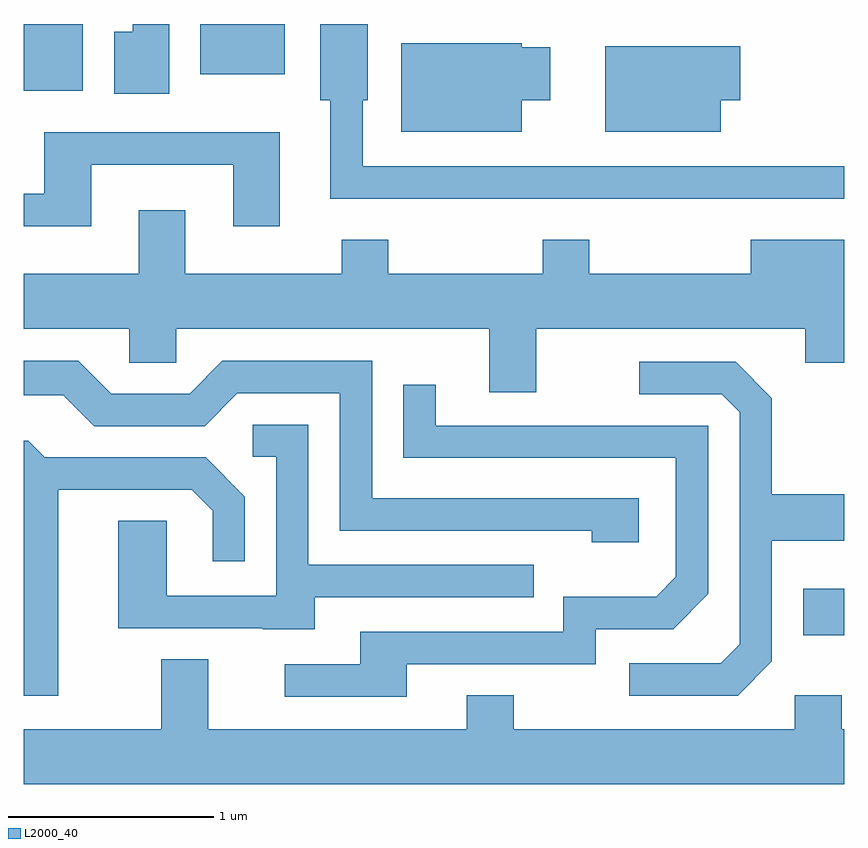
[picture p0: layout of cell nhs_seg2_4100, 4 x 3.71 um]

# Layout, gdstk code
import gdstk
lib = gdstk.Library(unit=1e-6, precision=1e-09)
def R(c, l, rs):  # rectangles x0, y0, x1, y1
    for r in rs: c.add(gdstk.rectangle(r[:2], r[2:], *l))
def P(c, l, *ps):  # polygons
    for p in ps: c.add(gdstk.Polygon(p, *l))
L2000_40 = (2000, 40)

nhs_seg2_4100 = lib.new_cell('nhs_seg2_4100')
R(nhs_seg2_4100, L2000_40, [(309.411,1046.821,309.611,1047.049), (305.611,1049.476,305.899,1049.802), (306.471,1049.556,306.884,1049.802)])
P(nhs_seg2_4100, L2000_40, [(306.319,1049.802),(306.141,1049.802),(306.141,1049.764),(306.051,1049.764),(306.051,1049.461),(306.319,1049.461)],
  [(309.611,1049.109),(307.264,1049.109),(307.264,1049.431),(307.289,1049.431),(307.289,1049.802),(307.056,1049.802),(307.056,1049.431),(307.106,1049.431),(307.106,1048.951),(309.611,1048.951)],
  [(308.039,1049.431),(308.179,1049.431),(308.179,1049.689),(308.039,1049.689),(308.039,1049.709),(307.451,1049.709),(307.451,1049.276),(308.039,1049.276)],
  [(309.009,1049.431),(309.104,1049.431),(309.104,1049.694),(308.446,1049.694),(308.446,1049.276),(309.009,1049.276)],
  [(305.939,1049.116),(306.631,1049.116),(306.631,1048.816),(306.859,1048.816),(306.859,1049.274),(305.711,1049.274),(305.711,1048.974),(305.611,1048.974),(305.611,1048.816),(305.939,1048.816)],
  [(308.109,1048.316),(309.421,1048.316),(309.421,1048.151),(309.611,1048.151),(309.611,1048.749),(309.156,1048.749),(309.156,1048.584),(308.369,1048.584),(308.369,1048.749),(308.141,1048.749),(308.141,1048.584),(307.389,1048.584),(307.389,1048.749),(307.161,1048.749),(307.161,1048.584),(306.399,1048.584),(306.399,1048.894),(306.171,1048.894),(306.171,1048.584),(305.611,1048.584),(305.611,1048.316),(306.126,1048.316),(306.126,1048.151),(306.354,1048.151),(306.354,1048.316),(307.881,1048.316),(307.881,1048.006),(308.109,1048.006)],
  [(308.609,1047.489),(307.309,1047.489),(307.309,1048.159),(306.579,1048.159),(306.419,1047.999),(306.037,1047.999),(305.877,1048.159),(305.611,1048.159),(305.611,1047.991),(305.804,1047.991),(305.954,1047.841),(306.492,1047.841),(306.652,1048.001),(307.151,1048.001),(307.151,1047.331),(308.381,1047.331),(308.381,1047.276),(308.609,1047.276)],
  [(309.259,1046.694),(309.259,1047.281),(309.611,1047.281),(309.611,1047.509),(309.259,1047.509),(309.259,1047.977),(309.082,1048.154),(308.613,1048.154),(308.613,1047.996),(309.014,1047.996),(309.101,1047.909),(309.101,1046.777),(309.009,1046.684),(308.563,1046.684),(308.563,1046.526),(309.092,1046.526)],
  [(307.479,1046.681),(308.399,1046.681),(308.399,1046.851),(308.777,1046.851),(308.949,1047.024),(308.949,1047.844),(307.619,1047.844),(307.619,1048.043),(307.461,1048.043),(307.461,1047.686),(308.791,1047.686),(308.791,1047.107),(308.694,1047.009),(308.241,1047.009),(308.241,1046.839),(307.251,1046.839),(307.251,1046.679),(306.883,1046.679),(306.883,1046.521),(307.479,1046.521)],
  [(307.029,1047.006),(308.098,1047.006),(308.098,1047.164),(306.999,1047.164),(306.999,1047.849),(306.728,1047.849),(306.728,1047.691),(306.841,1047.691),(306.841,1047.014),(306.309,1047.014),(306.309,1047.379),(306.071,1047.379),(306.071,1046.856),(306.775,1046.856),(306.775,1046.851),(307.029,1046.851)],
  [(305.779,1047.531),(306.429,1047.531),(306.531,1047.429),(306.531,1047.183),(306.689,1047.183),(306.689,1047.497),(306.497,1047.689),(305.712,1047.689),(305.632,1047.769),(305.611,1047.769),(305.611,1046.526),(305.779,1046.526)],
  [(309.611,1046.364),(309.599,1046.364),(309.599,1046.529),(309.371,1046.529),(309.371,1046.364),(307.999,1046.364),(307.999,1046.529),(307.771,1046.529),(307.771,1046.364),(306.509,1046.364),(306.509,1046.704),(306.281,1046.704),(306.281,1046.364),(305.611,1046.364),(305.611,1046.096),(309.611,1046.096)])

lib.write_gds('nhs_seg2_4100.gds')
